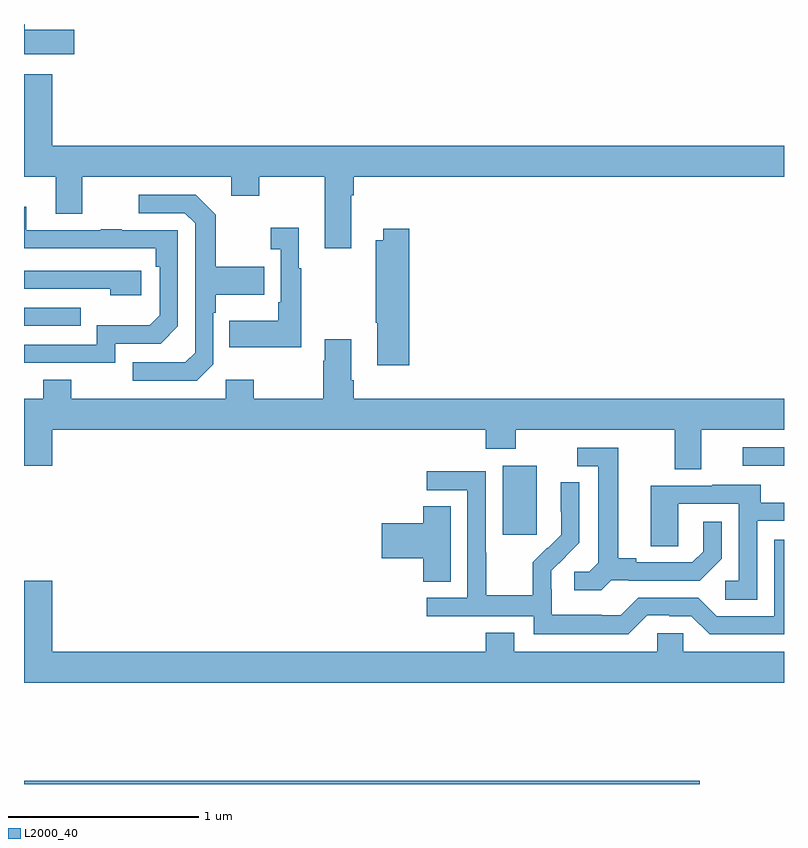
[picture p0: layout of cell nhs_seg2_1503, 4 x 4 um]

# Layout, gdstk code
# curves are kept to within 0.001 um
import gdstk
lib = gdstk.Library(unit=1e-6, precision=1e-09)
def R(c, l, rs):  # rectangles x0, y0, x1, y1
    for r in rs: c.add(gdstk.rectangle(r[:2], r[2:], *l))
def P(c, l, *ps):  # polygons
    for p in ps: c.add(gdstk.Polygon(p, *l))
L2000_40 = (2000, 40)

nhs_seg2_1503 = lib.new_cell('nhs_seg2_1503')
R(nhs_seg2_1503, L2000_40, [(189,617.8,192.556,617.816), (191.519,619.113,191.698,619.474), (192.783,619.476,193,619.572), (189,620.211,189.299,620.307)])
P(nhs_seg2_1503, L2000_40, [(189.265,621.771),(189.004,621.771),(189.004,621.8),(189,621.8),(189,621.641),(189.265,621.641)],
  [(190.723,620.9),(190.736,620.9),(190.736,620.996),(193,620.996),(193,621.16),(189.148,621.16),(189.148,621.535),(189,621.535),(189,620.996),(189.167,620.996),(189.167,620.802),(189.307,620.802),(189.307,620.996),(190.091,620.996),(190.091,620.897),(190.239,620.897),(190.239,620.996),(190.583,620.996),(190.583,620.619),(190.723,620.619)],
  [(189.996,620.01),(189.996,620.279),(190.009,620.279),(190.009,620.375),(190.265,620.375),(190.265,620.523),(190.009,620.523),(190.009,620.795),(189.903,620.901),(189.603,620.901),(189.603,620.805),(189.846,620.805),(189.9,620.751),(189.9,620.07),(189.849,620.019),(189.573,620.019),(189.573,619.923),(189.909,619.923)],
  [(189.48,620.118),(189.72,620.118),(189.81,620.208),(189.81,620.715),(189.515,620.715),(189.515,620.72),(189.403,620.72),(189.403,620.715),(189.013,620.715),(189.013,620.839),(189,620.839),(189,620.62),(189.694,620.619),(189.694,620.522),(189.714,620.522),(189.714,620.268),(189.661,620.215),(189.384,620.215),(189.384,620.112),(189,620.112),(189,620.016),(189.48,620.016)],
  [(190.459,620.515),(190.447,620.515),(190.447,620.728),(190.299,620.728),(190.299,620.615),(190.35,620.615),(190.35,620.335),(190.338,620.335),(190.338,620.239),(190.081,620.239),(190.081,620.099),(190.459,620.099)],
  [(191.027,620.722),(190.892,620.722),(190.892,620.662),(190.852,620.662),(190.852,620.227),(190.859,620.227),(190.859,620.004),(191.027,620.004)],
  [(189.616,620.502),(189,620.502),(189,620.406),(189.455,620.406),(189.455,620.372),(189.616,620.372)],
  [(192.565,619.664),(193,619.664),(193,619.828),(190.736,619.828),(190.736,619.924),(190.723,619.924),(190.723,620.14),(190.583,620.14),(190.583,620.027),(190.576,620.027),(190.576,619.828),(190.209,619.828),(190.209,619.927),(190.062,619.927),(190.062,619.828),(189.249,619.828),(189.249,619.927),(189.101,619.927),(189.101,619.828),(189,619.828),(189,619.476),(189.148,619.476),(189.148,619.664),(191.429,619.664),(191.429,619.565),(191.589,619.565),(191.589,619.664),(192.425,619.664),(192.425,619.456),(192.565,619.456)],
  [(192.09,618.873),(192.184,618.873),(192.184,618.87),(192.556,618.87),(192.672,618.986),(192.672,619.18),(192.575,619.18),(192.575,619.023),(192.518,618.966),(192.223,618.966),(192.223,618.989),(192.127,618.989),(192.127,619.569),(191.913,619.569),(191.913,619.473),(192.023,619.473),(192.023,618.965),(191.976,618.918),(191.895,618.918),(191.895,618.821),(192.038,618.821)],
  [(192.279,618.687),(192.395,618.687),(192.395,618.684),(192.513,618.684),(192.609,618.588),(193,618.588),(193,619.086),(192.948,619.086),(192.948,618.684),(192.645,618.684),(192.549,618.78),(192.234,618.78),(192.141,618.687),(192.041,618.687),(192.041,618.691),(191.778,618.691),(191.778,618.825),(191.776,618.825),(191.776,618.922),(191.922,619.07),(191.922,619.388),(191.826,619.388),(191.826,619.234),(191.828,619.234),(191.828,619.112),(191.757,619.041),(191.754,619.044),(191.677,618.967),(191.677,618.793),(191.433,618.793),(191.433,619.016),(191.43,619.016),(191.43,619.446),(191.121,619.446),(191.121,619.347),(191.334,619.347),(191.334,618.78),(191.121,618.78),(191.121,618.684),(191.682,618.684),(191.682,618.587),(192.179,618.587)],
  [(192.858,619.185),(193,619.185),(193,619.281),(192.877,619.281),(192.877,619.375),(192.623,619.375),(192.623,619.371),(192.299,619.371),(192.299,619.051),(192.444,619.051),(192.444,619.275),(192.762,619.275),(192.762,618.87),(192.69,618.87),(192.69,618.769),(192.858,618.769)],
  [(191.245,619.262),(191.102,619.262),(191.102,619.172),(190.884,619.172),(190.884,618.989),(191.102,618.989),(191.102,618.865),(191.245,618.865)],
  [(193,618.496),(192.471,618.496),(192.471,618.594),(192.333,618.594),(192.333,618.496),(191.581,618.496),(191.581,618.595),(191.429,618.595),(191.429,618.496),(189.148,618.496),(189.148,618.871),(189,618.871),(189,618.332),(193,618.332)])

lib.write_gds('nhs_seg2_1503.gds')
